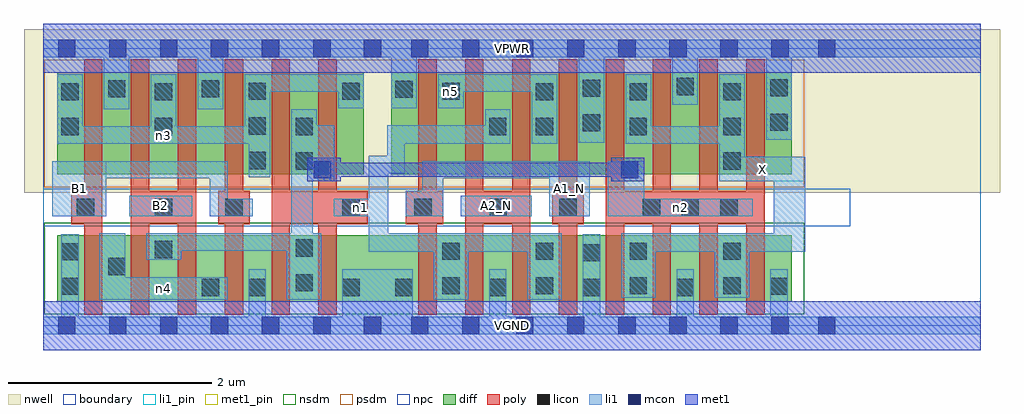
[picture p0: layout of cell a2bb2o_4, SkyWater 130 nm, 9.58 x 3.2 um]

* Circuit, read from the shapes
.subckt a2bb2o_4 A1_N A2_N B1 B2 VGND VPWR X n1 n2 n3 n4 n5
XM1 n4 B1 VGND VSUBS sky130_fd_pr__nfet_01v8 w=0.65 l=0.18 m=2
XM2 n2 B2 n4 VSUBS sky130_fd_pr__nfet_01v8 w=0.65 l=0.18 m=2
XM3 n2 n1 VGND VSUBS sky130_fd_pr__nfet_01v8 w=0.65 l=0.18 m=2
XM4 n1 A1_N VGND VSUBS sky130_fd_pr__nfet_01v8 w=0.65 l=0.18 m=2
XM5 VGND A2_N n1 VSUBS sky130_fd_pr__nfet_01v8 w=0.65 l=0.18 m=2
XM6 X n2 VGND VSUBS sky130_fd_pr__nfet_01v8 w=0.65 l=0.18 m=4
XM7 VPWR B1 n3 n6 sky130_fd_pr__pfet_01v8 w=1 l=0.18 m=2
XM8 n3 B2 VPWR n6 sky130_fd_pr__pfet_01v8 w=1 l=0.18 m=2
XM9 n2 n1 n3 n6 sky130_fd_pr__pfet_01v8 w=1 l=0.18 m=2
XM10 n5 A1_N VPWR n6 sky130_fd_pr__pfet_01v8 w=1 l=0.18 m=2
XM11 n1 A2_N n5 n6 sky130_fd_pr__pfet_01v8 w=1 l=0.18 m=2
XM12 X n2 VPWR n6 sky130_fd_pr__pfet_01v8 w=1 l=0.18 m=4
.ends

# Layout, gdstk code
import gdstk
lib = gdstk.Library(unit=1e-6, precision=1e-09)
def R(c, l, rs):  # rectangles x0, y0, x1, y1
    for r in rs: c.add(gdstk.rectangle(r[:2], r[2:], *l))
def A(c, l, x, y, w, h, nx, ny, dx, dy):  # array of equal rectangles
    R(c, l, [(x+i*dx, y+j*dy, x+i*dx+w, y+j*dy+h) for i in range(nx) for j in range(ny)])
nwell = (64, 20)
diff = (65, 20)
poly = (66, 20)
licon = (66, 44)
li1_pin = (67, 16)
li1 = (67, 20)
mcon = (67, 44)
met1_pin = (68, 16)
met1 = (68, 20)
nsdm = (93, 44)
psdm = (94, 20)
npc = (95, 20)
boundary = (235, 4)

a2bb2o_4 = lib.new_cell('a2bb2o_4')
R(a2bb2o_4, nwell, [(-0.19,1.305,9.39,2.91), (0,1.305,9.2,2.91)])
R(a2bb2o_4, diff, [(0.135,0.235,7.345,0.885), (0.135,1.485,3.145,2.485), (3.415,1.485,7.345,2.485)])
A(a2bb2o_4, poly, 0.4, 0.105, 0.18, 2.51, 6, 1, 0.46, 0)
A(a2bb2o_4, poly, 3.68, 0.105, 0.18, 2.51, 8, 1, 0.46, 0)
R(a2bb2o_4, poly, [(0.275,0.995,0.58,1.325), (0.86,0.995,1.5,1.325), (1.715,0.995,2.025,1.325), (2.24,0.995,3.185,1.325), (3.555,0.995,3.925,1.325), (4.14,0.995,4.78,1.325), (4.995,0.995,5.305,1.325), (5.52,0.995,7.08,1.325)])
A(a2bb2o_4, licon, 3.455, 0.29, 0.17, 0.17, 4, 1, 0.92, 0)
A(a2bb2o_4, licon, 3.915, 0.305, 0.17, 0.17, 4, 2, 0.92, 0.34)
A(a2bb2o_4, licon, 5.885, 1.075, 0.17, 0.17, 3, 1, 0.38, 0)
A(a2bb2o_4, licon, 2.015, 1.535, 0.17, 0.17, 1, 3, 0, 0.34)
A(a2bb2o_4, licon, 4.835, 1.87, 0.17, 0.17, 3, 2, 0.92, 0.34)
R(a2bb2o_4, licon, [(1.555,0.29,1.725,0.46), (2.015,0.29,2.185,0.46), (2.935,0.29,3.105,0.46), (0.175,0.3,0.345,0.47), (7.135,0.3,7.305,0.47), (2.475,0.335,2.645,0.505), (0.635,0.495,0.805,0.665), (5.295,0.63,5.465,0.8), (0.175,0.64,0.345,0.81), (1.095,0.66,1.265,0.83), (2.475,0.675,2.645,0.845), (0.33,1.075,0.5,1.245), (1.095,1.075,1.265,1.245), (1.785,1.075,1.955,1.245), (2.935,1.075,3.105,1.245), (3.64,1.075,3.81,1.245), (4.38,1.075,4.55,1.245), (5.065,1.075,5.235,1.245), (2.475,1.53,2.645,1.7), (6.675,1.53,6.845,1.7), (0.175,1.87,0.345,2.04), (1.095,1.87,1.265,2.04), (2.475,1.87,2.645,2.04), (4.375,1.87,4.545,2.04), (5.295,1.905,5.465,2.075), (7.135,1.91,7.305,2.08), (0.175,2.21,0.345,2.38), (1.095,2.21,1.265,2.38), (2.935,2.215,3.105,2.385), (3.915,2.215,4.085,2.385), (3.455,2.235,3.625,2.405), (0.635,2.24,0.805,2.41), (1.555,2.24,1.725,2.41), (5.295,2.245,5.465,2.415), (7.135,2.25,7.305,2.42), (6.215,2.26,6.385,2.43)])
R(a2bb2o_4, li1_pin, [(0.085,1.075,0.615,1.615), (0.845,1.075,1.46,1.275), (4.095,1.075,4.795,1.275), (4.965,1.075,5.365,1.615), (6.635,1.415,7.48,1.655)])
A(a2bb2o_4, li1, 0.135, 1.785, 0.25, 0.68, 3, 1, 0.92, 0)
R(a2bb2o_4, li1, [(0,-0.085,9.2,0.085), (0.175,-0.085,0.345,0.895), (2.015,-0.085,2.185,0.555), (2.935,-0.085,3.625,0.555), (4.375,-0.085,4.545,0.555), (5.295,-0.085,5.465,0.895), (6.215,-0.085,6.385,0.555), (7.135,-0.085,7.305,0.555), (0.55,0.255,1.81,0.475), (0.55,0.255,0.805,0.905), (2.39,0.255,2.73,0.905), (2.435,0.255,2.645,2.125), (3.83,0.255,4.17,0.905), (4.75,0.255,5.09,0.905), (5.67,0.275,6.01,0.905), (6.59,0.275,6.93,0.905), (1.01,0.645,1.355,0.905), (3.195,0.725,5.09,0.905), (3.195,0.725,3.385,1.665), (5.67,0.725,7.48,0.905), (7.17,0.725,7.48,1.655), (1.01,0.735,2.73,0.905), (0.085,1.075,0.615,1.615), (0.845,1.075,1.46,1.275), (1.635,1.075,2.055,1.245), (1.635,1.075,1.81,1.615), (2.85,1.075,3.385,1.245), (3.555,1.075,3.925,1.325), (3.72,1.075,3.925,1.615), (4.095,1.075,4.795,1.275), (4.965,1.075,5.365,1.615), (5.54,1.075,6.965,1.245), (5.54,1.075,5.9,1.615), (2.435,1.415,2.855,1.965), (2.435,1.415,2.685,2.125), (6.635,1.415,6.885,2.465), (6.635,1.415,7.48,1.655), (0.085,1.445,1.81,1.615), (3.72,1.445,5.365,1.615), (2.015,1.455,2.225,2.465), (3.375,1.495,3.545,1.965), (0.135,1.785,2.225,1.955), (3.375,1.785,4.585,1.965), (4.335,1.785,4.585,2.125), (4.795,1.785,5.045,2.465), (5.715,1.785,5.965,2.465), (5.715,1.785,6.885,1.955), (5.255,1.795,5.505,2.805), (7.095,1.825,7.345,2.805), (0.595,2.125,0.845,2.805), (1.515,2.125,1.765,2.805), (2.895,2.135,3.145,2.465), (3.415,2.135,3.665,2.805), (3.875,2.135,4.125,2.465), (6.175,2.165,6.425,2.805), (1.975,2.295,3.145,2.465), (3.875,2.295,5.045,2.465), (0,2.635,9.2,2.805)])
A(a2bb2o_4, mcon, 0.145, -0.085, 0.17, 0.17, 5, 2, 0.5, 2.72)
A(a2bb2o_4, mcon, 5.645, -0.085, 0.17, 0.17, 4, 2, 0.5, 2.72)
R(a2bb2o_4, mcon, [(2.65,-0.085,2.82,0.085), (3.145,-0.085,3.315,0.085), (3.61,-0.085,3.78,0.085), (4.11,-0.085,4.28,0.085), (4.64,-0.085,4.81,0.085), (5.14,-0.085,5.31,0.085), (7.605,-0.085,7.775,0.085), (2.655,1.445,2.825,1.615), (5.67,1.445,5.84,1.615), (2.65,2.635,2.82,2.805), (3.145,2.635,3.315,2.805), (3.61,2.635,3.78,2.805), (4.11,2.635,4.28,2.805), (4.64,2.635,4.81,2.805), (5.14,2.635,5.31,2.805), (7.605,2.635,7.775,2.805)])
R(a2bb2o_4, met1_pin, [(0,-0.24,9.2,0.24), (0,2.48,9.2,2.96)])
R(a2bb2o_4, met1, [(0,-0.24,9.2,0.24), (2.59,1.415,2.92,1.645), (5.575,1.415,5.9,1.645), (2.59,1.46,5.9,1.6), (0,2.48,9.2,2.96)])
R(a2bb2o_4, nsdm, [(0.01,0.11,7.47,1.01)])
R(a2bb2o_4, psdm, [(0.01,1.36,7.47,2.61)])
R(a2bb2o_4, npc, [(0,0.975,7.92,1.345)])
R(a2bb2o_4, boundary, [(0,0,9.2,2.72)])
a2bb2o_4.add(gdstk.Label('A1_N', (5.165,1.345), layer=67, texttype=5))
a2bb2o_4.add(gdstk.Label('A2_N', (4.445,1.175), layer=67, texttype=5))
a2bb2o_4.add(gdstk.Label('B1', (0.35,1.345), layer=67, texttype=5))
a2bb2o_4.add(gdstk.Label('B2', (1.152,1.175), layer=67, texttype=5))
a2bb2o_4.add(gdstk.Label('X', (7.057,1.535), layer=67, texttype=5))
a2bb2o_4.add(gdstk.Label('n4', (1.18,0.365), layer=67, texttype=5))
a2bb2o_4.add(gdstk.Label('n2', (6.252,1.16), layer=67, texttype=5))
a2bb2o_4.add(gdstk.Label('n1', (3.117,1.16), layer=67, texttype=5))
a2bb2o_4.add(gdstk.Label('n3', (1.18,1.87), layer=67, texttype=5))
a2bb2o_4.add(gdstk.Label('n5', (4,2.3), layer=67, texttype=5))
a2bb2o_4.add(gdstk.Label('VPWR', (4.6,2.72), layer=68, texttype=5))
a2bb2o_4.add(gdstk.Label('VGND', (4.6,0), layer=68, texttype=5))
a2bb2o_4.add(gdstk.Label('A1_N', (5.165,1.345), layer=67, texttype=16))
a2bb2o_4.add(gdstk.Label('A2_N', (4.445,1.175), layer=67, texttype=16))
a2bb2o_4.add(gdstk.Label('B1', (0.35,1.345), layer=67, texttype=16))
a2bb2o_4.add(gdstk.Label('B2', (1.152,1.175), layer=67, texttype=16))
a2bb2o_4.add(gdstk.Label('X', (7.057,1.535), layer=67, texttype=16))
a2bb2o_4.add(gdstk.Label('VPWR', (4.6,2.72), layer=68, texttype=16))
a2bb2o_4.add(gdstk.Label('VGND', (4.6,0), layer=68, texttype=16))

lib.write_gds('a2bb2o_4.gds')
